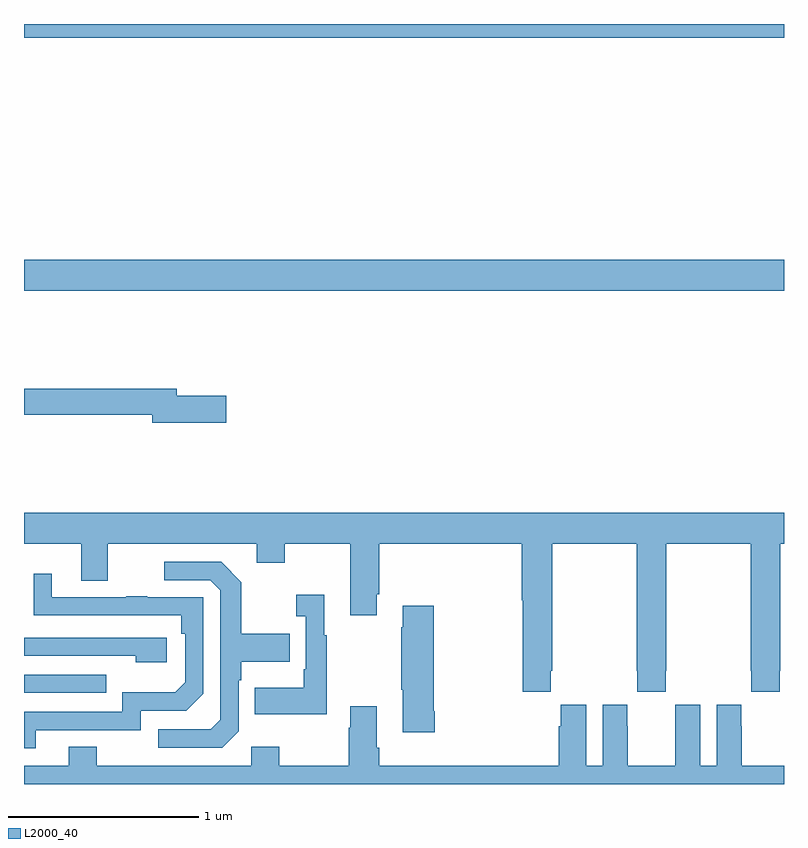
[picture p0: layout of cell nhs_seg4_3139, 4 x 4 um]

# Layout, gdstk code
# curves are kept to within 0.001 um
import gdstk
lib = gdstk.Library(unit=1e-6, precision=1e-09)
def R(c, l, rs):  # rectangles x0, y0, x1, y1
    for r in rs: c.add(gdstk.rectangle(r[:2], r[2:], *l))
def P(c, l, *ps):  # polygons
    for p in ps: c.add(gdstk.Polygon(p, *l))
L2000_40 = (2000, 40)

nhs_seg4_3139 = lib.new_cell('nhs_seg4_3139')
R(nhs_seg4_3139, L2000_40, [(277,785.379,277.433,785.475), (277,787.496,281,787.66), (277,788.828,281,788.9)])
P(nhs_seg4_3139, L2000_40, [(278.065,786.944),(277.804,786.944),(277.804,786.98),(277,786.98),(277,786.844),(277.676,786.844),(277.676,786.802),(278.065,786.802)],
  [(279.773,785.497),(279.78,785.497),(279.78,786.164),(280.225,786.164),(280.225,785.497),(280.227,785.497),(280.227,785.385),(280.377,785.385),(280.377,785.497),(280.38,785.497),(280.38,786.164),(280.825,786.164),(280.825,785.497),(280.827,785.497),(280.827,785.385),(280.977,785.385),(280.977,785.497),(280.98,785.497),(280.98,786.164),(281,786.164),(281,786.328),(277,786.328),(277,786.164),(277.301,786.164),(277.301,785.97),(277.441,785.97),(277.441,786.164),(278.225,786.164),(278.225,786.065),(278.373,786.065),(278.373,786.164),(278.717,786.164),(278.717,785.787),(278.857,785.787),(278.857,785.899),(278.87,785.899),(278.87,786.164),(279.62,786.164),(279.62,785.868),(279.625,785.868),(279.625,785.385),(279.773,785.385)],
  [(278.13,785.178),(278.13,785.447),(278.143,785.447),(278.143,785.543),(278.399,785.543),(278.399,785.691),(278.143,785.691),(278.143,785.963),(278.037,786.069),(277.737,786.069),(277.737,785.973),(277.98,785.973),(278.034,785.919),(278.034,785.238),(277.983,785.187),(277.707,785.187),(277.707,785.091),(278.043,785.091)],
  [(277.063,785.184),(277.614,785.184),(277.614,785.286),(277.854,785.286),(277.944,785.376),(277.944,785.883),(277.649,785.883),(277.649,785.888),(277.537,785.888),(277.537,785.883),(277.147,785.883),(277.147,786.007),(277.051,786.007),(277.051,785.788),(277.828,785.787),(277.828,785.69),(277.848,785.69),(277.848,785.436),(277.795,785.383),(277.518,785.383),(277.518,785.28),(277,785.28),(277,785.088),(277.063,785.088)],
  [(278.593,785.683),(278.581,785.683),(278.581,785.896),(278.433,785.896),(278.433,785.783),(278.484,785.783),(278.484,785.503),(278.472,785.503),(278.472,785.407),(278.215,785.407),(278.215,785.267),(278.593,785.267)],
  [(279.161,785.284),(279.156,785.284),(279.156,785.839),(278.993,785.839),(278.993,785.726),(278.986,785.726),(278.986,785.395),(278.993,785.395),(278.993,785.172),(279.161,785.172)],
  [(277.75,785.67),(277,785.67),(277,785.574),(277.589,785.574),(277.589,785.54),(277.75,785.54)],
  [(281,784.996),(280.777,784.996),(280.777,785.204),(280.776,785.204),(280.776,785.317),(280.646,785.317),(280.646,784.996),(280.558,784.996),(280.558,785.317),(280.428,785.317),(280.428,785.204),(280.427,785.204),(280.427,784.996),(280.177,784.996),(280.177,785.204),(280.176,785.204),(280.176,785.317),(280.046,785.317),(280.046,784.996),(279.958,784.996),(279.958,785.317),(279.824,785.317),(279.824,785.204),(279.815,785.204),(279.815,784.996),(278.87,784.996),(278.87,785.092),(278.857,785.092),(278.857,785.308),(278.717,785.308),(278.717,785.195),(278.71,785.195),(278.71,784.996),(278.343,784.996),(278.343,785.095),(278.196,785.095),(278.196,784.996),(277.383,784.996),(277.383,785.095),(277.235,785.095),(277.235,784.996),(277,784.996),(277,784.9),(281,784.9)])

lib.write_gds('nhs_seg4_3139.gds')
